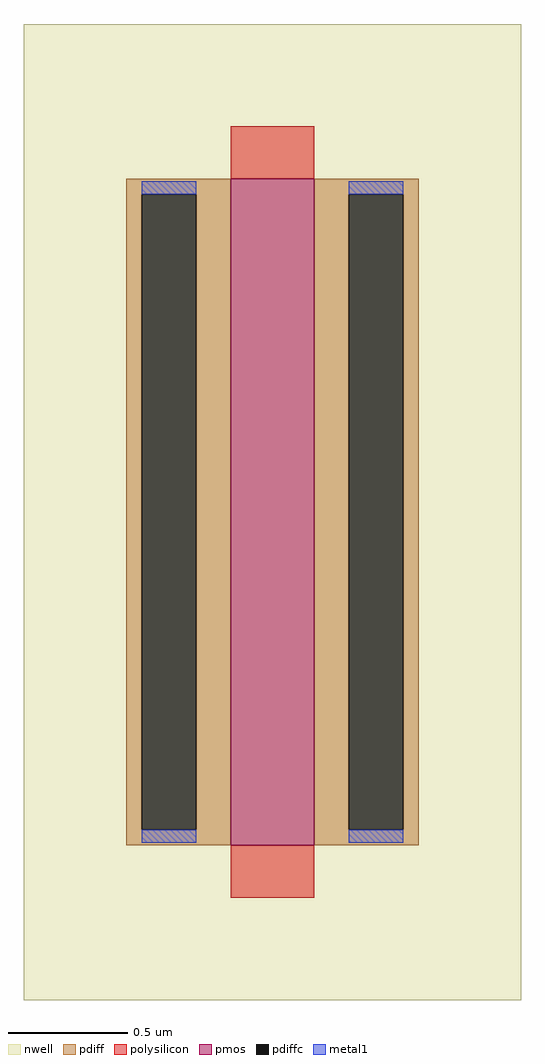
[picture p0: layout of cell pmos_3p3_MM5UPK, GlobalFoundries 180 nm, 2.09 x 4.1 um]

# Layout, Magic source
magic
tech gf180mcuC
magscale 1 10
<< nwell >>
rect -209 -410 209 410
<< pmos >>
rect -35 -280 35 280
<< pdiff >>
rect -123 267 -35 280
rect -123 -267 -110 267
rect -64 -267 -35 267
rect -123 -280 -35 -267
rect 35 267 123 280
rect 35 -267 64 267
rect 110 -267 123 267
rect 35 -280 123 -267
<< pdiffc >>
rect -110 -267 -64 267
rect 64 -267 110 267
<< polysilicon >>
rect -35 280 35 324
rect -35 -324 35 -280
<< metal1 >>
rect -110 267 -64 278
rect -110 -278 -64 -267
rect 64 267 110 278
rect 64 -278 110 -267
<< properties >>
string gencell pmos_3p3
string library gf180mcu
string parameters w 2.8 l 0.35 m 1 nf 1 diffcov 100 polycov 100 guard 0 glc 0 grc 0 gtc 0 gbc 0 tbcov 100 rlcov 100 topc 0 botc 0 poverlap 0 doverlap 1 lmin 0.28 wmin 0.22 full_metal 0 compatible {pmos_3p3 pmos_6p0}
<< end >>
